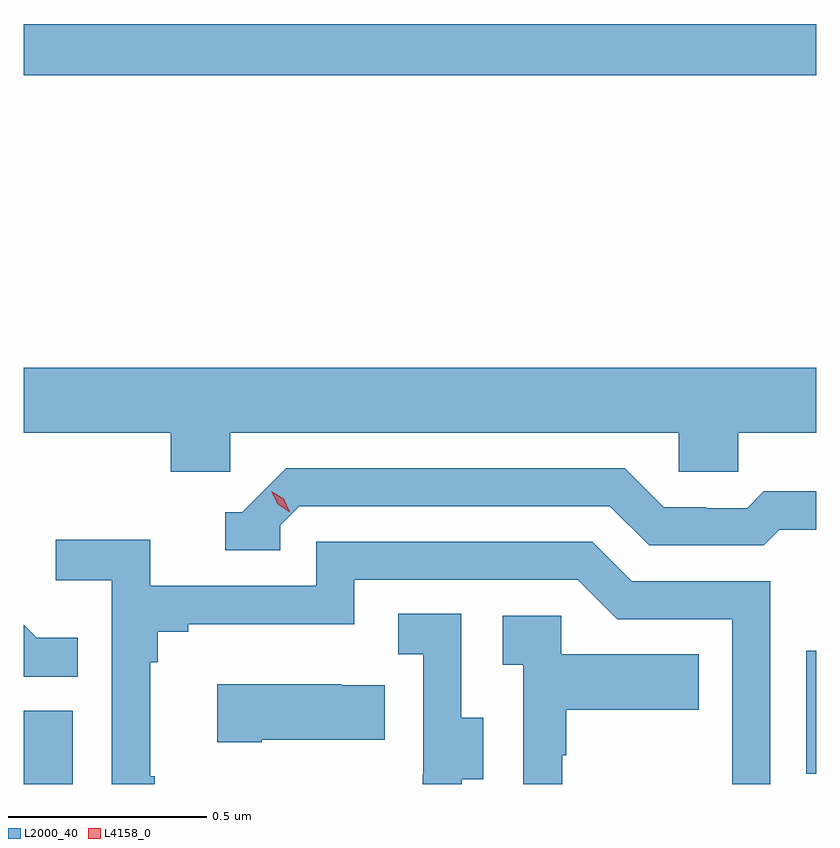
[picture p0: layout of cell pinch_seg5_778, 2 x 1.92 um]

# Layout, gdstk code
import gdstk
lib = gdstk.Library(unit=1e-6, precision=1e-09)
def R(c, l, rs):  # rectangles x0, y0, x1, y1
    for r in rs: c.add(gdstk.rectangle(r[:2], r[2:], *l))
def P(c, l, *ps):  # polygons
    for p in ps: c.add(gdstk.Polygon(p, *l))
L2000_40 = (2000, 40)
L4158_0 = (4158, 0)

pinch_seg5_778 = lib.new_cell('pinch_seg5_778')
R(pinch_seg5_778, L2000_40, [(842.922,894.502,843.046,894.687), (844.896,894.528,844.922,894.838), (842.922,896.29,844.922,896.419)])
P(pinch_seg5_778, L2000_40, [(843.444,895.388),(844.575,895.388),(844.575,895.29),(844.725,895.29),(844.725,895.388),(844.922,895.388),(844.922,895.552),(842.922,895.552),(842.922,895.388),(843.293,895.388),(843.293,895.29),(843.444,895.29)],
  [(843.57,895.155),(843.618,895.203),(844.401,895.203),(844.5,895.104),(844.789,895.104),(844.828,895.143),(844.922,895.143),(844.922,895.24),(844.789,895.24),(844.747,895.197),(844.644,895.197),(844.644,895.2),(844.537,895.2),(844.438,895.299),(843.585,895.299),(843.474,895.188),(843.431,895.188),(843.431,895.092),(843.57,895.092)],
  [(843.253,894.521),(843.241,894.521),(843.241,894.809),(843.26,894.809),(843.26,894.886),(843.337,894.886),(843.337,894.905),(843.756,894.905),(843.756,895.017),(844.32,895.017),(844.419,894.918),(844.71,894.918),(844.71,894.502),(844.806,894.502),(844.806,895.014),(844.456,895.014),(844.357,895.113),(843.66,895.113),(843.66,895.002),(843.242,895.002),(843.242,895.118),(843.003,895.118),(843.003,895.016),(843.144,895.016),(843.144,894.502),(843.253,894.502)],
  [(844.027,894.514),(844.081,894.514),(844.081,894.669),(844.026,894.669),(844.026,894.932),(843.867,894.932),(843.867,894.829),(843.93,894.829),(843.93,894.525),(843.929,894.525),(843.929,894.502),(844.027,894.502)],
  [(844.281,894.575),(844.291,894.575),(844.291,894.689),(844.625,894.689),(844.625,894.829),(844.278,894.829),(844.278,894.927),(844.131,894.927),(844.131,894.803),(844.182,894.803),(844.182,894.502),(844.281,894.502)],
  [(843.059,894.871),(842.955,894.871),(842.922,894.904),(842.922,894.772),(843.059,894.772)],
  [(843.523,894.614),(843.833,894.614),(843.833,894.751),(843.725,894.751),(843.725,894.754),(843.411,894.754),(843.411,894.607),(843.523,894.607)])
P(pinch_seg5_778, L4158_0, [(843.593,895.188),(843.563,895.208),(843.547,895.241),(843.547,895.241),(843.547,895.241),(843.578,895.221),(843.594,895.189),(843.594,895.188)])

lib.write_gds('pinch_seg5_778.gds')
